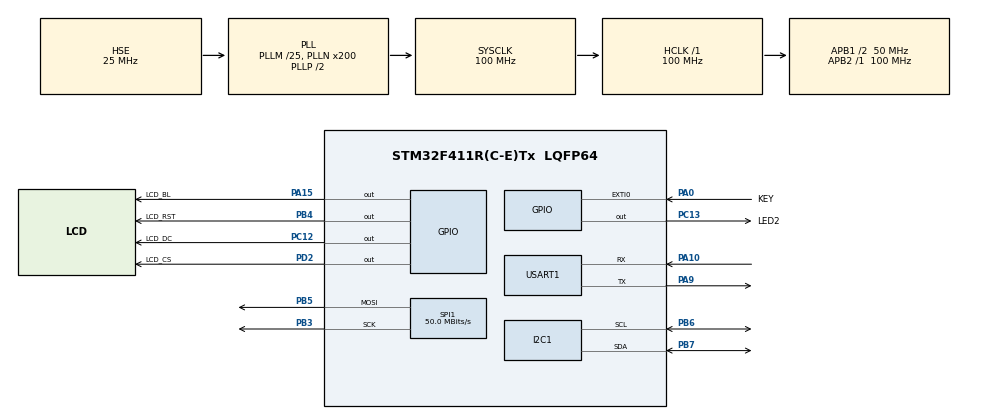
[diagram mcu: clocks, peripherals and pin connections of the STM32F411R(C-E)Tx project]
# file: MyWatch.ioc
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FREERTOS.Tasks01=DefaultTask,24,128,StartDefaultTask,Default,NULL,Dynamic,NULL,NULL
Mcu.Family=STM32F4
Mcu.Name=STM32F411R(C-E)Tx
Mcu.Package=LQFP64
NVIC.EXTI0_IRQn=true\:5\:0\:false\:false\:true\:true\:true\:true\:true
NVIC.PriorityGroup=NVIC_PRIORITYGROUP_4
NVIC.TIM1_TRG_COM_TIM11_IRQn=true\:15\:0\:false\:false\:true\:false\:false\:true\:true
NVIC.TimeBase=TIM1_TRG_COM_TIM11_IRQn
NVIC.TimeBaseIP=TIM11
PA0-WKUP.GPIO_Label=KEY
PA0-WKUP.GPIO_ModeDefaultEXTI=GPIO_MODE_IT_FALLING
PA0-WKUP.GPIO_PuPd=GPIO_PULLUP
PA0-WKUP.Signal=GPXTI0
PA10.Mode=Asynchronous
PA10.Signal=USART1_RX
PA13.Mode=Serial_Wire
PA13.Signal=SYS_JTMS-SWDIO
PA14.Mode=Serial_Wire
PA14.Signal=SYS_JTCK-SWCLK
PA15.GPIO_Label=LCD_BL
PA15.Signal=GPIO_Output
PA9.Mode=Asynchronous
PA9.Signal=USART1_TX
PB3.Mode=TX_Only_Simplex_Unidirect_Master
PB3.Signal=SPI1_SCK
PB4.GPIO_Label=LCD_RST
PB4.Signal=GPIO_Output
PB5.Mode=TX_Only_Simplex_Unidirect_Master
PB5.Signal=SPI1_MOSI
PB6.Mode=I2C
PB6.Signal=I2C1_SCL
PB7.Mode=I2C
PB7.Signal=I2C1_SDA
PC12.GPIO_Label=LCD_DC
PC12.Signal=GPIO_Output
PC13-ANTI_TAMP.GPIO_Label=LED2
PC13-ANTI_TAMP.Signal=GPIO_Output
PC14-OSC32_IN.Mode=LSE-External-Oscillator
PC14-OSC32_IN.Signal=RCC_OSC32_IN
PC15-OSC32_OUT.Mode=LSE-External-Oscillator
PC15-OSC32_OUT.Signal=RCC_OSC32_OUT
PD2.GPIO_Label=LCD_CS
PD2.Signal=GPIO_Output
PH0\ -\ OSC_IN.Mode=HSE-External-Oscillator
PH0\ -\ OSC_IN.Signal=RCC_OSC_IN
PH1\ -\ OSC_OUT.Mode=HSE-External-Oscillator
PH1\ -\ OSC_OUT.Signal=RCC_OSC_OUT
ProjectManager.HeapSize=0x200
ProjectManager.StackSize=0x400
ProjectManager.TargetToolchain=MDK-ARM V5.32
RCC.48MHZClocksFreq_Value=50000000
RCC.AHBFreq_Value=100000000
RCC.APB1CLKDivider=RCC_HCLK_DIV2
RCC.APB1Freq_Value=50000000
RCC.APB1TimFreq_Value=100000000
RCC.APB2Freq_Value=100000000
RCC.APB2TimFreq_Value=100000000
RCC.CortexFreq_Value=100000000
RCC.HCLKFreq_Value=100000000
RCC.HSE_VALUE=25000000
RCC.HSI_VALUE=16000000
RCC.PLLM=25
RCC.PLLN=200
RCC.PLLSourceVirtual=RCC_PLLSOURCE_HSE
RCC.RCC_RTC_Clock_Source=RCC_RTCCLKSOURCE_LSE
RCC.SYSCLKFreq_VALUE=100000000
RCC.SYSCLKSource=RCC_SYSCLKSOURCE_PLLCLK
RCC.VCOOutputFreq_Value=200000000
SPI1.CLKPhase=SPI_PHASE_2EDGE
SPI1.CLKPolarity=SPI_POLARITY_HIGH
SPI1.CalculateBaudRate=50.0 MBits/s
SPI1.Direction=SPI_DIRECTION_2LINES
SPI1.Mode=SPI_MODE_MASTER
SPI1.VirtualType=VM_MASTER
USART1.VirtualMode=VM_ASYNC
VP_FREERTOS_VS_CMSIS_V2.Mode=CMSIS_V2
VP_RTC_VS_RTC_Activate.Mode=RTC_Enabled
VP_RTC_VS_RTC_Calendar.Mode=RTC_Calendar
VP_SYS_VS_tim11.Mode=TIM11
board=custom

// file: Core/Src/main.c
/* USER CODE BEGIN Header */
/**
 ******************************************************************************
 * @file           : main.c
 * @brief          : Main program body
 ******************************************************************************
 * @attention
 *
 * Copyright (c) 2026 STMicroelectronics.
 * All rights reserved.
 *
 * This software is licensed under terms that can be found in the LICENSE file
 * in the root directory of this software component.
 * If no LICENSE file comes with this software, it is provided AS-IS.
 *
 ******************************************************************************
 */
/* USER CODE END Header */
#include "main.h"
#include "cmsis_os.h"

/* USER CODE BEGIN Includes */
#include <stdio.h>
#include <string.h>
#include "FreeRTOS.h"
#include "queue.h"
#include "lcd_min.h"
#include "lvgl.h"
#include "watch_display.h"
#include "watch_app.h"
#include "touch.h"
#include "mpu6050.h"
#include "pedometer.h"

/* USER CODE END Includes */

/* USER CODE BEGIN PD */
#define RTC_BKP_MAGIC    0xA5A55A5AU
/* USER CODE END PD */

I2C_HandleTypeDef hi2c1;

RTC_HandleTypeDef hrtc;

SPI_HandleTypeDef hspi1;

UART_HandleTypeDef huart1;

/* Definitions for DefaultTask */
osThreadId_t DefaultTaskHandle;
const osThreadAttr_t DefaultTask_attributes = {
  .name = "DefaultTask",
  .stack_size = 128 * 4,
  .priority = (osPriority_t) osPriorityNormal,
};

void SystemClock_Config(void);
static void MX_GPIO_Init(void);
static void MX_USART1_UART_Init(void);
static void MX_SPI1_Init(void);
static void MX_I2C1_Init(void);
static void MX_RTC_Init(void);
void StartDefaultTask(void *argument);

int main(void)
{

  /* MCU Configuration--------------------------------------------------------*/

  /* Reset of all peripherals, Initializes the Flash interface and the Systick. */
  HAL_Init();

  /* Configure the system clock */
  SystemClock_Config();

  /* Initialize all configured peripherals */
  MX_GPIO_Init();
  MX_USART1_UART_Init();
  MX_SPI1_Init();
  MX_I2C1_Init();
  MX_RTC_Init();

  /* USER CODE BEGIN 2 */
  /* BSP: physical LCD */
  LCD_MIN_Init();

  HAL_GPIO_WritePin(
      LCD_BL_GPIO_Port,
      LCD_BL_Pin,
      GPIO_PIN_SET);
  /* USER CODE END 2 */

  /* Init scheduler */
  osKernelInitialize();

  /* Create the thread(s) */
  /* creation of DefaultTask */
  DefaultTaskHandle = osThreadNew(StartDefaultTask, NULL, &DefaultTask_attributes);

  /* USER CODE BEGIN RTOS_THREADS */
  /* add threads, ... */
  /* MyWatch application */

  WatchApp_Init();
  /* USER CODE END RTOS_THREADS */

  /* Start scheduler */
  osKernelStart();

  /* We should never get here as control is now taken by the scheduler */

  /* Infinite loop */
  while (1)
  {

  }
}

void SystemClock_Config(void)
{
  RCC_OscInitTypeDef RCC_OscInitStruct = {0};
  RCC_ClkInitTypeDef RCC_ClkInitStruct = {0};

  /** Configure the main internal regulator output voltage
  */
  __HAL_RCC_PWR_CLK_ENABLE();
  __HAL_PWR_VOLTAGESCALING_CONFIG(PWR_REGULATOR_VOLTAGE_SCALE1);

  /** Initializes the RCC Oscillators according to the specified parameters
  * in the RCC_OscInitTypeDef structure.
  */
  RCC_OscInitStruct.OscillatorType = RCC_OSCILLATORTYPE_HSE|RCC_OSCILLATORTYPE_LSE;
  RCC_OscInitStruct.HSEState = RCC_HSE_ON;
  RCC_OscInitStruct.LSEState = RCC_LSE_ON;
  RCC_OscInitStruct.PLL.PLLState = RCC_PLL_ON;
  RCC_OscInitStruct.PLL.PLLSource = RCC_PLLSOURCE_HSE;
  RCC_OscInitStruct.PLL.PLLM = 25;
  RCC_OscInitStruct.PLL.PLLN = 200;
  RCC_OscInitStruct.PLL.PLLP = RCC_PLLP_DIV2;
  RCC_OscInitStruct.PLL.PLLQ = 4;
  if (HAL_RCC_OscConfig(&RCC_OscInitStruct) != HAL_OK)
  {
    Error_Handler();
  }

  /** Initializes the CPU, AHB and APB buses clocks
  */
  RCC_ClkInitStruct.ClockType = RCC_CLOCKTYPE_HCLK|RCC_CLOCKTYPE_SYSCLK
                              |RCC_CLOCKTYPE_PCLK1|RCC_CLOCKTYPE_PCLK2;
  RCC_ClkInitStruct.SYSCLKSource = RCC_SYSCLKSOURCE_PLLCLK;
  RCC_ClkInitStruct.AHBCLKDivider = RCC_SYSCLK_DIV1;
  RCC_ClkInitStruct.APB1CLKDivider = RCC_HCLK_DIV2;
  RCC_ClkInitStruct.APB2CLKDivider = RCC_HCLK_DIV1;

  if (HAL_RCC_ClockConfig(&RCC_ClkInitStruct, FLASH_LATENCY_3) != HAL_OK)
  {
    Error_Handler();
  }
}

static void MX_I2C1_Init(void)
{

  hi2c1.Instance = I2C1;
  hi2c1.Init.ClockSpeed = 100000;
  hi2c1.Init.DutyCycle = I2C_DUTYCYCLE_2;
  hi2c1.Init.OwnAddress1 = 0;
  hi2c1.Init.AddressingMode = I2C_ADDRESSINGMODE_7BIT;
  hi2c1.Init.DualAddressMode = I2C_DUALADDRESS_DISABLE;
  hi2c1.Init.OwnAddress2 = 0;
  hi2c1.Init.GeneralCallMode = I2C_GENERALCALL_DISABLE;
  hi2c1.Init.NoStretchMode = I2C_NOSTRETCH_DISABLE;
  if (HAL_I2C_Init(&hi2c1) != HAL_OK)
  {
    Error_Handler();
  }

}

static void MX_RTC_Init(void)
{

  RTC_TimeTypeDef sTime = {0};
  RTC_DateTypeDef sDate = {0};

  /** Initialize RTC Only
  */
  hrtc.Instance = RTC;
  hrtc.Init.HourFormat = RTC_HOURFORMAT_24;
  hrtc.Init.AsynchPrediv = 127;
  hrtc.Init.SynchPrediv = 255;
  hrtc.Init.OutPut = RTC_OUTPUT_DISABLE;
  hrtc.Init.OutPutPolarity = RTC_OUTPUT_POLARITY_HIGH;
  hrtc.Init.OutPutType = RTC_OUTPUT_TYPE_OPENDRAIN;
  if (HAL_RTC_Init(&hrtc) != HAL_OK)
  {
    Error_Handler();
  }

  /* USER CODE BEGIN Check_RTC_BKUP */
if (HAL_RTCEx_BKUPRead(
        &hrtc,
        RTC_BKP_DR0) == RTC_BKP_MAGIC)
{
    /*
     * RTC 已经初始化过。
     * 直接退出，不再执行下面 CubeMX 自动生成的
     * HAL_RTC_SetTime() / HAL_RTC_SetDate()。
     */
    return;
}
  /* USER CODE END Check_RTC_BKUP */

  /** Initialize RTC and set the Time and Date
  */
  sTime.Hours = 0x0;
  sTime.Minutes = 0x0;
  sTime.Seconds = 0x0;
  sTime.DayLightSaving = RTC_DAYLIGHTSAVING_NONE;
  sTime.StoreOperation = RTC_STOREOPERATION_RESET;
  if (HAL_RTC_SetTime(&hrtc, &sTime, RTC_FORMAT_BCD) != HAL_OK)
  {
    Error_Handler();
  }
  sDate.WeekDay = RTC_WEEKDAY_MONDAY;
  sDate.Month = RTC_MONTH_JANUARY;
  sDate.Date = 0x1;
  sDate.Year = 0x0;

  if (HAL_RTC_SetDate(&hrtc, &sDate, RTC_FORMAT_BCD) != HAL_OK)
  {
    Error_Handler();
  }
  /* USER CODE BEGIN RTC_Init 2 */
HAL_RTCEx_BKUPWrite(
    &hrtc,
    RTC_BKP_DR0,
    RTC_BKP_MAGIC
);
  /* USER CODE END RTC_Init 2 */

}

static void MX_SPI1_Init(void)
{

  /* SPI1 parameter configuration*/
  hspi1.Instance = SPI1;
  hspi1.Init.Mode = SPI_MODE_MASTER;
  hspi1.Init.Direction = SPI_DIRECTION_2LINES;
  hspi1.Init.DataSize = SPI_DATASIZE_8BIT;
  hspi1.Init.CLKPolarity = SPI_POLARITY_HIGH;
  hspi1.Init.CLKPhase = SPI_PHASE_2EDGE;
  hspi1.Init.NSS = SPI_NSS_SOFT;
  hspi1.Init.BaudRatePrescaler = SPI_BAUDRATEPRESCALER_2;
  hspi1.Init.FirstBit = SPI_FIRSTBIT_MSB;
  hspi1.Init.TIMode = SPI_TIMODE_DISABLE;
  hspi1.Init.CRCCalculation = SPI_CRCCALCULATION_DISABLE;
  hspi1.Init.CRCPolynomial = 10;
  if (HAL_SPI_Init(&hspi1) != HAL_OK)
  {
    Error_Handler();
  }

}

static void MX_USART1_UART_Init(void)
{

  huart1.Instance = USART1;
  huart1.Init.BaudRate = 115200;
  huart1.Init.WordLength = UART_WORDLENGTH_8B;
  huart1.Init.StopBits = UART_STOPBITS_1;
  huart1.Init.Parity = UART_PARITY_NONE;
  huart1.Init.Mode = UART_MODE_TX_RX;
  huart1.Init.HwFlowCtl = UART_HWCONTROL_NONE;
  huart1.Init.OverSampling = UART_OVERSAMPLING_16;
  if (HAL_UART_Init(&huart1) != HAL_OK)
  {
    Error_Handler();
  }

}

static void MX_GPIO_Init(void)
{
  GPIO_InitTypeDef GPIO_InitStruct = {0};

  /* GPIO Ports Clock Enable */
  __HAL_RCC_GPIOC_CLK_ENABLE();
  __HAL_RCC_GPIOH_CLK_ENABLE();
  __HAL_RCC_GPIOA_CLK_ENABLE();
  __HAL_RCC_GPIOD_CLK_ENABLE();
  __HAL_RCC_GPIOB_CLK_ENABLE();

  /*Configure GPIO pin Output Level */
  HAL_GPIO_WritePin(GPIOC, LED2_Pin|LCD_DC_Pin, GPIO_PIN_RESET);

  /*Configure GPIO pin Output Level */
  HAL_GPIO_WritePin(LCD_BL_GPIO_Port, LCD_BL_Pin, GPIO_PIN_RESET);

  /*Configure GPIO pin Output Level */
  HAL_GPIO_WritePin(LCD_CS_GPIO_Port, LCD_CS_Pin, GPIO_PIN_RESET);

  /*Configure GPIO pin Output Level */
  HAL_GPIO_WritePin(LCD_RST_GPIO_Port, LCD_RST_Pin, GPIO_PIN_RESET);

  /*Configure GPIO pins : LED2_Pin LCD_DC_Pin */
  GPIO_InitStruct.Pin = LED2_Pin|LCD_DC_Pin;
  GPIO_InitStruct.Mode = GPIO_MODE_OUTPUT_PP;
  GPIO_InitStruct.Pull = GPIO_NOPULL;
  GPIO_InitStruct.Speed = GPIO_SPEED_FREQ_LOW;
  HAL_GPIO_Init(GPIOC, &GPIO_InitStruct);

  /*Configure GPIO pin : KEY_Pin */
  GPIO_InitStruct.Pin = KEY_Pin;
  GPIO_InitStruct.Mode = GPIO_MODE_IT_FALLING;
  GPIO_InitStruct.Pull = GPIO_PULLUP;
  HAL_GPIO_Init(KEY_GPIO_Port, &GPIO_InitStruct);

  /*Configure GPIO pin : LCD_BL_Pin */
  GPIO_InitStruct.Pin = LCD_BL_Pin;
  GPIO_InitStruct.Mode = GPIO_MODE_OUTPUT_PP;
  GPIO_InitStruct.Pull = GPIO_NOPULL;
  GPIO_InitStruct.Speed = GPIO_SPEED_FREQ_LOW;
  HAL_GPIO_Init(LCD_BL_GPIO_Port, &GPIO_InitStruct);

  /*Configure GPIO pin : LCD_CS_Pin */
  GPIO_InitStruct.Pin = LCD_CS_Pin;
  GPIO_InitStruct.Mode = GPIO_MODE_OUTPUT_PP;
  GPIO_InitStruct.Pull = GPIO_NOPULL;
  GPIO_InitStruct.Speed = GPIO_SPEED_FREQ_LOW;
  HAL_GPIO_Init(LCD_CS_GPIO_Port, &GPIO_InitStruct);

  /*Configure GPIO pin : LCD_RST_Pin */
  GPIO_InitStruct.Pin = LCD_RST_Pin;
  GPIO_InitStruct.Mode = GPIO_MODE_OUTPUT_PP;
  GPIO_InitStruct.Pull = GPIO_NOPULL;
  GPIO_InitStruct.Speed = GPIO_SPEED_FREQ_LOW;
  HAL_GPIO_Init(LCD_RST_GPIO_Port, &GPIO_InitStruct);

  /* EXTI interrupt init*/
  HAL_NVIC_SetPriority(EXTI0_IRQn, 5, 0);
  HAL_NVIC_EnableIRQ(EXTI0_IRQn);

}

/* USER CODE BEGIN 4 */
int fputc(int ch, FILE *f)
{
    uint8_t data = (uint8_t)ch;

    HAL_UART_Transmit(
        &huart1,
        &data,
        1,
        HAL_MAX_DELAY
    );

    return ch;
}
/* USER CODE END 4 */

void StartDefaultTask(void *argument)
{
  for (;;)
  {
    osDelay(1);
  }
}

void HAL_TIM_PeriodElapsedCallback(TIM_HandleTypeDef *htim)
{
  if (htim->Instance == TIM11)
  {
    HAL_IncTick();
  }
}

void Error_Handler(void)
{
  __disable_irq();
  while (1)
  {
  }
}
